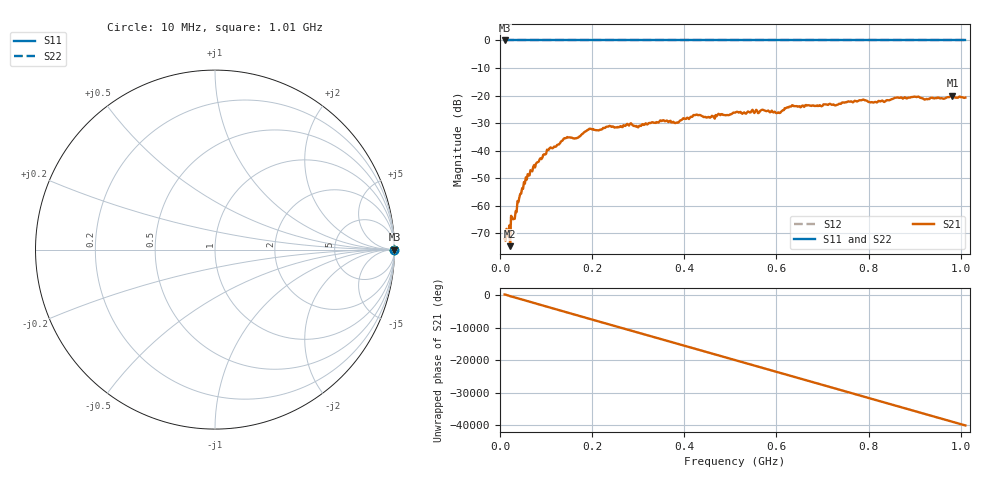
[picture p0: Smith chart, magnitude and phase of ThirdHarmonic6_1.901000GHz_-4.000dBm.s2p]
! 8/16/2025 10:56:29 PM
! C:\ANRITSUVNA\TEMP\TEMP.S2P
! CHANNEL.1
! TR.MEASUREMENT
! RAW.DATA
! RF.CORRECTION.OFF
! AVERAGING.OFF
! IF.BANDWIDTH: 5KHZ
! SWEEPTYPE:  FREQ.SWEEP(Linear)
! Reference Plane Port Info
! PORT:  PORT1  PORT2
! DISTANCE:  0  m  0  m
! TIME:  0  s  0  s
! PHASE.OFFSET:  0  deg.  0  deg.
! LOSS:  0  dB  0  dB
! REF.LOSS:  0  dB  0  dB
! REF.FREQ:  0  Hz  0  Hz
! Power Info
! POWER:  -20  dBm  -20  dBm
! EFF.POWER:  -20  dBm  -20  dBm
! SOURCE.ATTEN:  0  dB  0  dB
! TEST.ATTEN:  0  dB  0  dB
# GHZ S RI R 50.0
! FREQ.GHZ  S11RE  S11IM  S21RE  S21IM  S12RE  S12IM  S22RE  S22IM
!; PortSelection: Port_12
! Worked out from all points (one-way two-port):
!   501 points, 10 MHz to 1.01 GHz, reference 50 ohm
!   highest |S21| = -20.01 dB at 982 MHz (marker M1); lowest = -74.7 dB at 22 MHz (marker M2)
!   lowest |S11| = 0.0 dB at 10 MHz (marker M3)
!   |S11| at or under -10 dB: nowhere
!   |S22| runs from 0.0 to 0.0 dB; largest |S21 - S12| = 1.1
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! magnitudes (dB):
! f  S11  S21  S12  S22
! 10 MHz  0.0  -72.0  0.0  0.0
! 18 MHz  0.0  -71.2  0.0  0.0
! 22 MHz  0.0  -74.7  0.0  0.0
! 52 MHz  0.0  -51.4  0.0  0.0
! 76 MHz  0.0  -46.1  0.0  0.0
! 106 MHz  0.0  -39.7  0.0  0.0
! 142 MHz  0.0  -35.5  0.0  0.0
! 166 MHz  0.0  -35.5  0.0  0.0
! 178 MHz  0.0  -34.0  0.0  0.0
! 194 MHz  0.0  -32.0  0.0  0.0
! 344 MHz  0.0  -29.8  0.0  0.0
! 382 MHz  0.0  -29.9  0.0  0.0
! 424 MHz  0.0  -27.1  0.0  0.0
! 452 MHz  0.0  -27.8  0.0  0.0
! 510 MHz  0.0  -26.2  0.0  0.0
! 570 MHz  0.0  -25.1  0.0  0.0
! 604 MHz  0.0  -26.1  0.0  0.0
! 632 MHz  0.0  -24.0  0.0  0.0
! 678 MHz  0.0  -23.6  0.0  0.0
! 844 MHz  0.0  -21.7  0.0  0.0
! 982 MHz  0.0  -20.0  0.0  0.0
! 1.01 GHz  0.0  -20.7  0.0  0.0
